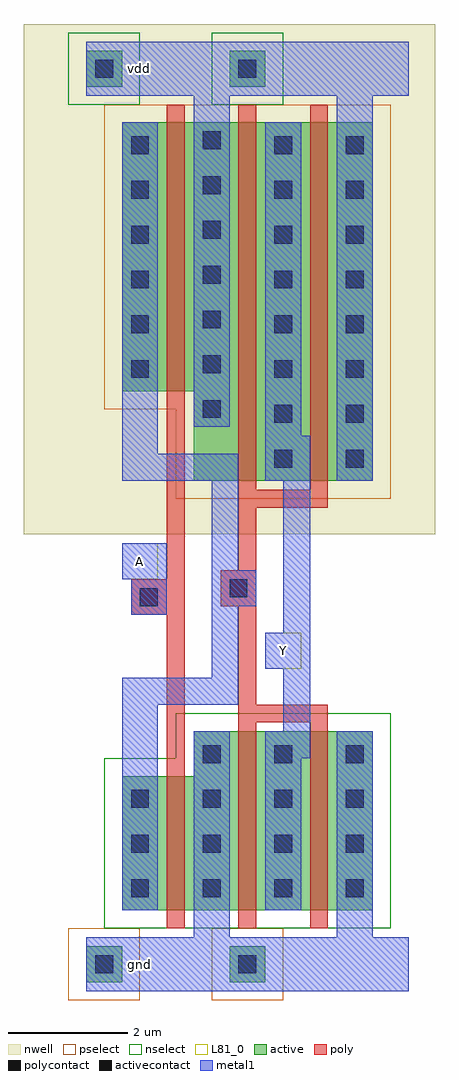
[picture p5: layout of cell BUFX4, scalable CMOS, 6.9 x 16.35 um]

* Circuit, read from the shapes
.subckt BUFX4 A Y gnd vdd
M1 gnd A n1 gnd nfet w=2.25u l=0.3u
M2 Y n1 gnd gnd nfet w=3u l=0.3u m=2
M3 vdd A n1 vdd pfet w=4.5u l=0.3u
M4 Y n1 vdd vdd pfet w=6u l=0.3u m=2
.ends

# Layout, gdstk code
import gdstk
lib = gdstk.Library(unit=1e-6, precision=1e-09)
def R(c, l, rs):  # rectangles x0, y0, x1, y1
    for r in rs: c.add(gdstk.rectangle(r[:2], r[2:], *l))
def A(c, l, x, y, w, h, nx, ny, dx, dy):  # array of equal rectangles
    R(c, l, [(x+i*dx, y+j*dy, x+i*dx+w, y+j*dy+h) for i in range(nx) for j in range(ny)])
nwell = (42, 0)
active = (43, 0)
pselect = (44, 0)
nselect = (45, 0)
poly = (46, 0)
polycontact = (47, 0)
activecontact = (48, 0)
metal1 = (49, 0)
L81_0 = (81, 0)

bufx4 = lib.new_cell('BUFX4')
R(bufx4, nwell, [(-1.35,7.2,5.55,15.75)])
R(bufx4, active, [(-0.3,-0.3,0.3,0.3), (2.1,-0.3,2.7,0.3), (0.3,0.9,4.5,3.15), (1.5,3.15,4.5,3.9), (1.5,8.1,4.5,9.6), (0.3,9.6,4.5,14.1), (-0.3,14.7,0.3,15.3), (2.1,14.7,2.7,15.3)])
R(bufx4, pselect, [(-0.6,-0.6,0.6,0.6), (1.8,-0.6,3,0.6), (1.2,7.8,4.8,9.3), (0,9.3,4.8,14.4)])
R(bufx4, nselect, [(0,0.6,4.8,3.45), (1.2,3.45,4.8,4.2), (-0.6,14.4,0.6,15.6), (1.8,14.4,3,15.6)])
R(bufx4, poly, [(1.05,0.6,1.35,5.85), (2.25,0.6,2.55,4.05), (3.45,0.6,3.75,4.05), (2.25,4.05,3.75,4.35), (2.25,4.35,2.55,6), (0.45,5.85,1.35,6.45), (1.95,6,2.55,6.6), (1.05,6.45,1.35,14.4), (2.25,6.6,2.55,7.65), (2.25,7.65,3.75,7.95), (2.25,7.95,2.55,14.4), (3.45,7.95,3.75,14.4)])
R(bufx4, polycontact, [(0.6,6,0.9,6.3), (2.1,6.15,2.4,6.45)])
A(bufx4, activecontact, 0.45, 1.12, 0.3, 0.3, 4, 3, 1.2, 0.75)
A(bufx4, activecontact, 1.65, 3.37, 0.3, 0.3, 3, 1, 1.2, 0)
A(bufx4, activecontact, 2.85, 8.32, 0.3, 0.3, 1, 8, 0, 0.75)
A(bufx4, activecontact, 4.05, 8.32, 0.3, 0.3, 1, 8, 0, 0.75)
A(bufx4, activecontact, 1.65, 9.15, 0.3, 0.3, 1, 7, 0, 0.75)
A(bufx4, activecontact, 0.45, 9.82, 0.3, 0.3, 1, 6, 0, 0.75)
R(bufx4, activecontact, [(-0.15,-0.15,0.15,0.15), (2.25,-0.15,2.55,0.15), (-0.15,14.85,0.15,15.15), (2.25,14.85,2.55,15.15)])
R(bufx4, metal1, [(-0.3,-0.45,5.1,0.45), (1.5,0.45,2.1,3.9), (3.9,0.45,4.5,3.9), (0.3,0.9,0.9,4.35), (2.7,0.9,3.3,3.45), (2.7,3.45,3.45,3.9), (3,3.9,3.45,4.95), (0.3,4.35,2.25,4.8), (1.8,4.8,2.25,6), (2.7,4.95,3.45,5.55), (3,5.55,3.45,8.1), (0.45,5.85,1.05,6.45), (1.8,6,2.55,6.6), (0.3,6.45,1.05,7.05), (1.8,6.6,2.25,8.1), (0.3,8.1,2.25,8.55), (2.7,8.1,3.45,8.85), (3.9,8.1,4.5,14.55), (0.3,8.55,0.9,14.1), (2.7,8.85,3.3,14.1), (1.5,9,2.1,14.55), (-0.3,14.55,5.1,15.45)])
R(bufx4, L81_0, [(2.7,4.95,3.3,5.55), (0.3,6.45,0.9,7.05)])
bufx4.add(gdstk.Label('vdd', (0.6,15), layer=109, texttype=0))
bufx4.add(gdstk.Label('gnd', (0.6,0), layer=109, texttype=0))
bufx4.add(gdstk.Label('A', (0.6,6.75), layer=109, texttype=0))
bufx4.add(gdstk.Label('Y', (3,5.25), layer=109, texttype=0))

lib.write_gds('BUFX4.gds')
